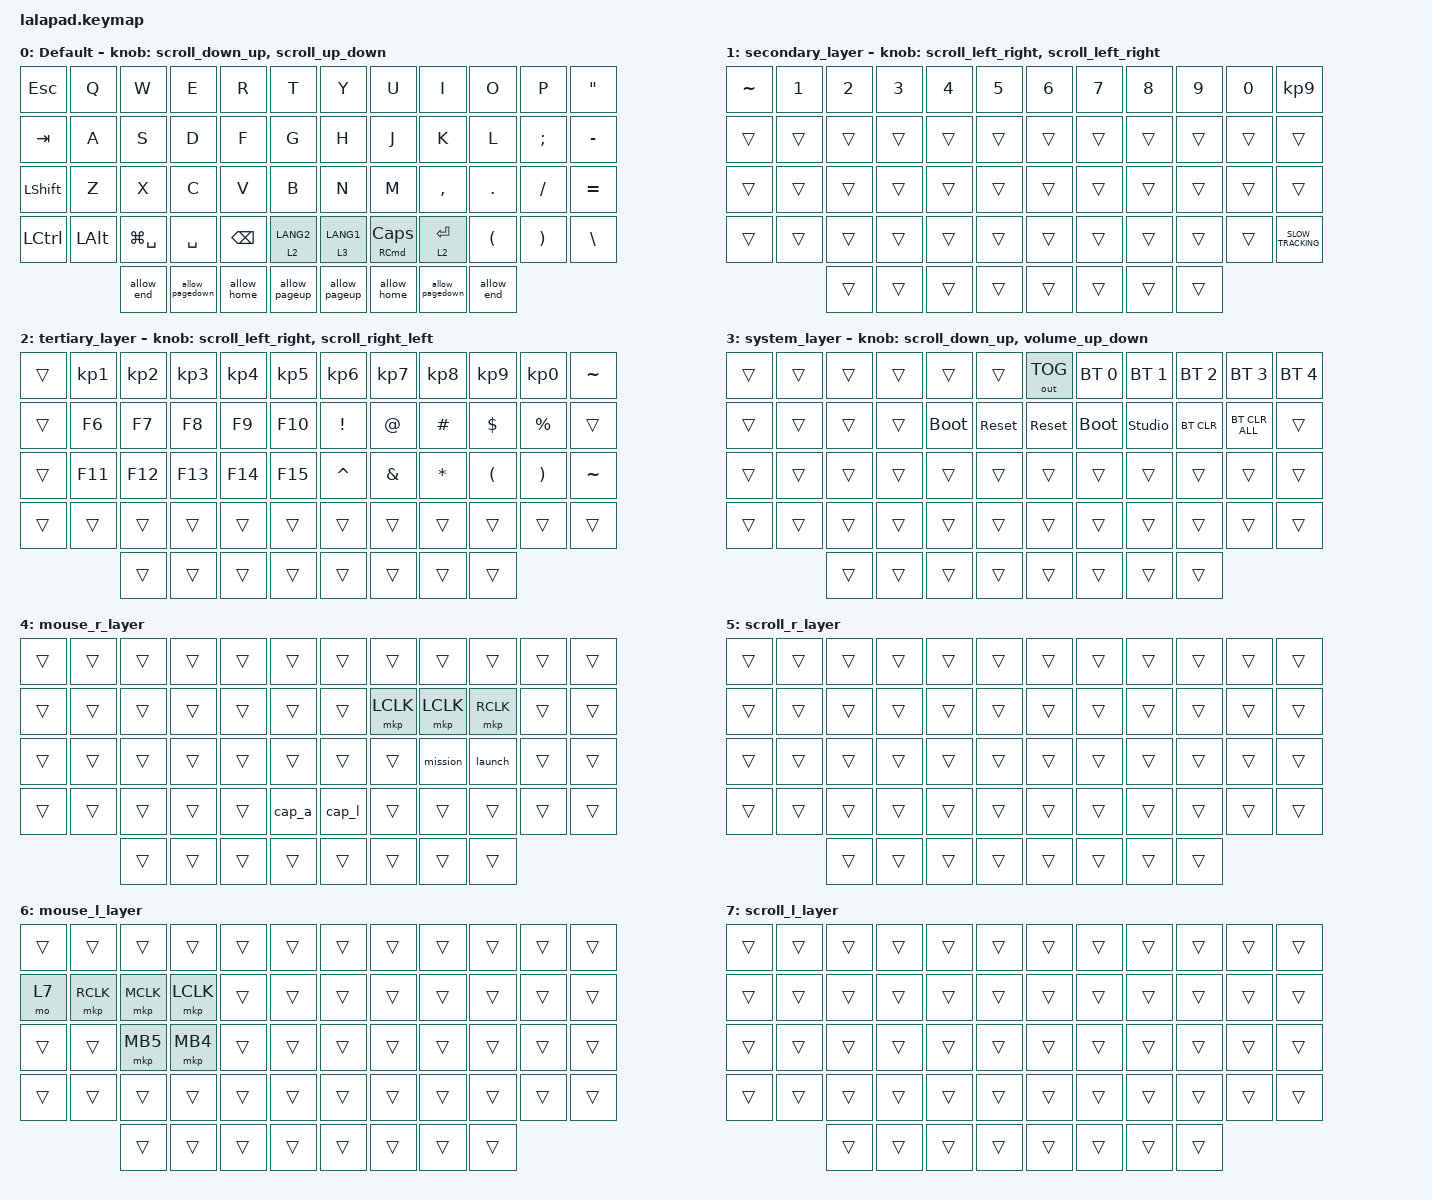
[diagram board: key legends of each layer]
#include <input/processors.dtsi>
#include <behaviors.dtsi>
#include <dt-bindings/zmk/bt.h>
#include <dt-bindings/zmk/keys.h>
#include <dt-bindings/zmk/outputs.h>
#include <dt-bindings/zmk/pointing.h>

#define DEFAULT_LAYER   0
#define SECONDARY_LAYER 1
#define TERTIARY_LAYER  2
#define SYSTEM_LAYER    3
#define MOUSE_R_LAYER   4
#define SCROLL_R_LAYER  5
#define MOUSE_L_LAYER   6
#define SCROLL_L_LAYER  7

/* Avoid macro redefinition warnings/errors */

#ifdef ZMK_POINTING_DEFAULT_SCRL_VAL
#undef ZMK_POINTING_DEFAULT_SCRL_VAL
#endif

#define ZMK_POINTING_DEFAULT_SCRL_VAL 100

/* cirque trackpad input & layer control */

&glidepoint_listener_R {
    input-processors =
        <&zip_xy_transform (INPUT_TRANSFORM_XY_SWAP | INPUT_TRANSFORM_X_INVERT | INPUT_TRANSFORM_Y_INVERT)>,
        <&zip_xy_scaler 3 2>,
        <&zip_temp_layer MOUSE_R_LAYER 500>;

    lowspeedmode {
        layers = <SECONDARY_LAYER>;
        input-processors =
            <&zip_xy_transform (INPUT_TRANSFORM_XY_SWAP | INPUT_TRANSFORM_X_INVERT | INPUT_TRANSFORM_Y_INVERT)>,
            <&zip_xy_scaler 3 5>,
            <&zip_temp_layer MOUSE_R_LAYER 500>;
    };

    scroller {
        layers = <SCROLL_R_LAYER>;
        input-processors =
            <&zip_xy_to_scroll_mapper>,
            <&zip_scroll_transform (INPUT_TRANSFORM_XY_SWAP | INPUT_TRANSFORM_Y_INVERT)>,
            <&zip_scroll_scaler 1 8>;
    };
};

&glidepoint_listener_L {
    input-processors =
        <&zip_xy_transform (INPUT_TRANSFORM_XY_SWAP | INPUT_TRANSFORM_X_INVERT | INPUT_TRANSFORM_Y_INVERT)>,
        <&zip_xy_scaler 3 2>,
        <&zip_temp_layer MOUSE_L_LAYER 500>;

    lowspeedmode {
        layers = <SECONDARY_LAYER>;
        input-processors =
            <&zip_xy_transform (INPUT_TRANSFORM_XY_SWAP | INPUT_TRANSFORM_X_INVERT | INPUT_TRANSFORM_Y_INVERT)>,
            <&zip_xy_scaler 3 4>,
            <&zip_temp_layer MOUSE_L_LAYER 500>;
    };

    scroller {
        layers = <SCROLL_L_LAYER>;
        input-processors =
            <&zip_xy_to_scroll_mapper>,
            <&zip_scroll_transform (INPUT_TRANSFORM_XY_SWAP | INPUT_TRANSFORM_Y_INVERT)>,
            <&zip_scroll_scaler 1 6>;
    };
};

/ {
    behaviors {
        /* NOTE: behavior-sensor-rotate does NOT accept display-name. */

        scroll_up_down: sensor_scroll_up_down {
            compatible = "zmk,behavior-sensor-rotate";
            #sensor-binding-cells = <0>;
            bindings = <&msc SCRL_UP>, <&msc SCRL_DOWN>;

            tap-ms = <20>;
        };

        scroll_down_up: sensor_scroll_down_up {
            compatible = "zmk,behavior-sensor-rotate";
            #sensor-binding-cells = <0>;
            bindings = <&msc SCRL_DOWN>, <&msc SCRL_UP>;

            tap-ms = <20>;
        };

        scroll_left_right: sensor_scroll_left_right {
            compatible = "zmk,behavior-sensor-rotate";
            #sensor-binding-cells = <0>;
            bindings = <&msc SCRL_LEFT>, <&msc SCRL_RIGHT>;

            tap-ms = <20>;
        };

        scroll_right_left: sensor_scroll_right_left {
            compatible = "zmk,behavior-sensor-rotate";
            #sensor-binding-cells = <0>;
            bindings = <&msc SCRL_RIGHT>, <&msc SCRL_LEFT>;

            tap-ms = <20>;
        };

        volume_up_down: sensor_volume_up_down {
            compatible = "zmk,behavior-sensor-rotate";
            #sensor-binding-cells = <0>;
            bindings = <&kp C_VOLUME_UP>, <&kp C_VOLUME_DOWN>;

            tap-ms = <20>;
        };

        dot_comma: dot_comma {
            compatible = "zmk,behavior-mod-morph";
            #binding-cells = <0>;
            bindings = <&kp KP_DOT>, <&kp COMMA>;

            mods = <(MOD_LSFT|MOD_RSFT)>;
        };

        pls_minus: pls_minus {
            compatible = "zmk,behavior-mod-morph";
            #binding-cells = <0>;
            bindings = <&kp PLUS>, <&kp MINUS>;

            mods = <(MOD_LSFT|MOD_RSFT)>;
        };

        allow_pageup: allow_pageup {
            compatible = "zmk,behavior-mod-morph";
            #binding-cells = <0>;
            bindings = <&kp UP>, <&kp PAGE_UP>;

            mods = <(MOD_LCTL|MOD_RCTL)>;
        };

        allow_pagedown: allow_pagedown {
            compatible = "zmk,behavior-mod-morph";
            #binding-cells = <0>;
            bindings = <&kp DOWN>, <&kp PAGE_DOWN>;

            mods = <(MOD_LCTL|MOD_RCTL)>;
        };

        allow_home: allow_home {
            compatible = "zmk,behavior-mod-morph";
            #binding-cells = <0>;
            bindings = <&kp LEFT>, <&kp HOME>;

            mods = <(MOD_LCTL|MOD_RCTL)>;
        };

        allow_end: allow_end {
            compatible = "zmk,behavior-mod-morph";
            #binding-cells = <0>;
            bindings = <&kp RIGHT>, <&kp END>;

            mods = <(MOD_LCTL|MOD_RCTL)>;
        };

        mt2: mod_tap2 {
            compatible = "zmk,behavior-hold-tap";
            #binding-cells = <2>;
            flavor = "tap-preferred";
            tapping-term-ms = <200>;
            quick-tap-ms = <200>;
            require-prior-idle-ms = <125>;
            bindings = <&kp>, <&kp>;
        };
    };

    combos {
        compatible = "zmk,combos";

        l_p {
            bindings = <&kp LEFT_PARENTHESIS>;
            key-positions = <15 16>;
        };

        r_p {
            bindings = <&kp RIGHT_PARENTHESIS>;
            key-positions = <16 17>;
        };

        l_disp {
            bindings = <&kp LA(LC(D))>;
            key-positions = <24 25>;
        };

        c_disp {
            bindings = <&kp LA(LC(F))>;
            key-positions = <25 26>;
        };

        r_disp {
            bindings = <&kp LA(LC(G))>;
            key-positions = <26 27>;
        };

        full_disp {
            bindings = <&kp LA(LC(ENTER))>;
            key-positions = <28 29>;
        };
    };

    macros {
        launch: launch {
            compatible = "zmk,behavior-macro";
            #binding-cells = <0>;
            bindings = <&kp RG(L)>;
            label = "LAUNCH";
        };

        mission: mission {
            compatible = "zmk,behavior-macro";
            #binding-cells = <0>;
            bindings = <&kp RC(UP_ARROW)>;
            label = "MISSION";
        };

        cap_a: cap_a {
            compatible = "zmk,behavior-macro";
            #binding-cells = <0>;
            bindings = <&kp LS(LG(NUMBER_3))>;
            label = "CAP_A";
        };

        cap_l: cap_l {
            compatible = "zmk,behavior-macro";
            #binding-cells = <0>;
            bindings = <&kp LG(LS(NUMBER_4))>;
            label = "CAP_L";
        };
    };

    keymap {
        compatible = "zmk,keymap";

        DEFAULT_LAYER {
            display-name = "Default";
            sensor-bindings = <&scroll_down_up>, <&scroll_up_down>;

            bindings = <
&kp ESC    &kp Q         &kp W          &kp E            &kp R          &kp T          &kp Y          &kp U              &kp I            &kp O                 &kp P                  &kp DOUBLE_QUOTES
&kp TAB    &kp A         &kp S          &kp D            &kp F          &kp G          &kp H          &kp J              &kp K            &kp L                 &kp SEMI               &kp MINUS
&kp LSHFT  &kp Z         &kp X          &kp C            &kp V          &kp B          &kp N          &kp M              &kp COMMA        &kp PERIOD            &kp SLASH              &kp EQUAL
&kp LCTRL  &kp LEFT_ALT  &kp LG(SPACE)  &kp SPACE        &kp BACKSPACE  &lt 2 LANG2    &lt 3 LANG1    &mt RCMD CAPSLOCK  &lt 2 ENTER      &kp LEFT_PARENTHESIS  &kp RIGHT_PARENTHESIS  &kp BACKSLASH
                         &allow_end     &allow_pagedown  &allow_home    &allow_pageup  &allow_pageup  &allow_home        &allow_pagedown  &allow_end
            >;
        };

        SECONDARY_LAYER {
            display-name = "secondary_layer";
            sensor-bindings = <&scroll_left_right>, <&scroll_left_right>;

            bindings = <
&kp TILDE  &kp NUMBER_1  &kp NUMBER_2  &kp NUMBER_3  &kp NUMBER_4  &kp NUMBER_5  &kp NUMBER_6  &kp N7  &kp N8  &kp N9  &kp N0  &kp KP_NUMBER_9
&trans     &trans        &trans        &trans        &trans        &trans        &trans        &trans  &trans  &trans  &trans  &trans
&trans     &trans        &trans        &trans        &trans        &trans        &trans        &trans  &trans  &trans  &trans  &trans
&trans     &trans        &trans        &trans        &trans        &trans        &trans        &trans  &trans  &trans  &trans  &kp C_SLOW_TRACKING
                         &trans        &trans        &trans        &trans        &trans        &trans  &trans  &trans
            >;
        };

        TERTIARY_LAYER {
            display-name = "tertiary_layer";
            sensor-bindings = <&scroll_left_right>, <&scroll_right_left>;

            bindings = <
&trans  &kp KP_N1  &kp KP_N2  &kp KP_N3  &kp KP_NUMBER_4  &kp KP_NUMBER_5  &kp KP_NUMBER_6  &kp KP_NUMBER_7  &kp KP_N8     &kp KP_NUMBER_9       &kp KP_NUMBER_0        &kp TILDE
&trans  &kp F6     &kp F7     &kp F8     &kp F9           &kp F10          &kp EXCLAMATION  &kp AT_SIGN      &kp HASH      &kp DOLLAR            &kp PERCENT            &trans
&trans  &kp F11    &kp F12    &kp F13    &kp F14          &kp F15          &kp CARET        &kp AMPERSAND    &kp ASTERISK  &kp LEFT_PARENTHESIS  &kp RIGHT_PARENTHESIS  &kp TILDE
&trans  &trans     &trans     &trans     &trans           &trans           &trans           &trans           &trans        &trans                &trans                 &trans
                   &trans     &trans     &trans           &trans           &trans           &trans           &trans        &trans
            >;
        };

        SYSTEM_LAYER {
            display-name = "system_layer";
            sensor-bindings = <&scroll_down_up>, <&volume_up_down>;

            bindings = <
&trans  &trans  &trans  &trans  &trans       &trans      &out OUT_TOG  &bt BT_SEL 0  &bt BT_SEL 1    &bt BT_SEL 2  &bt BT_SEL 3    &bt BT_SEL 4
&trans  &trans  &trans  &trans  &bootloader  &sys_reset  &sys_reset    &bootloader   &studio_unlock  &bt BT_CLR    &bt BT_CLR_ALL  &trans
&trans  &trans  &trans  &trans  &trans       &trans      &trans        &trans        &trans          &trans        &trans          &trans
&trans  &trans  &trans  &trans  &trans       &trans      &trans        &trans        &trans          &trans        &trans          &trans
                &trans  &trans  &trans       &trans      &trans        &trans        &trans          &trans
            >;
        };

        MOUSE_R_LAYER {
            display-name = "mouse_r_layer";
            bindings = <
&trans  &trans  &trans  &trans  &trans  &trans  &trans  &trans     &trans     &trans     &trans  &trans
&trans  &trans  &trans  &trans  &trans  &trans  &trans  &mkp LCLK  &mkp LCLK  &mkp RCLK  &trans  &trans
&trans  &trans  &trans  &trans  &trans  &trans  &trans  &trans     &mission   &launch    &trans  &trans
&trans  &trans  &trans  &trans  &trans  &cap_a  &cap_l  &trans     &trans     &trans     &trans  &trans
                &trans  &trans  &trans  &trans  &trans  &trans     &trans     &trans
            >;
        };

        SCROLL_R_LAYER {
            display-name = "scroll_r_layer";
            bindings = <
&trans  &trans  &trans  &trans  &trans  &trans  &trans  &trans  &trans  &trans  &trans  &trans
&trans  &trans  &trans  &trans  &trans  &trans  &trans  &trans  &trans  &trans  &trans  &trans
&trans  &trans  &trans  &trans  &trans  &trans  &trans  &trans  &trans  &trans  &trans  &trans
&trans  &trans  &trans  &trans  &trans  &trans  &trans  &trans  &trans  &trans  &trans  &trans
                &trans  &trans  &trans  &trans  &trans  &trans  &trans  &trans
            >;
        };

        MOUSE_L_LAYER {
            display-name = "mouse_l_layer";
            bindings = <
&trans  &trans     &trans     &trans     &trans  &trans  &trans  &trans  &trans  &trans  &trans  &trans
&mo 7   &mkp RCLK  &mkp MCLK  &mkp LCLK  &trans  &trans  &trans  &trans  &trans  &trans  &trans  &trans
&trans  &trans     &mkp MB5   &mkp MB4   &trans  &trans  &trans  &trans  &trans  &trans  &trans  &trans
&trans  &trans     &trans     &trans     &trans  &trans  &trans  &trans  &trans  &trans  &trans  &trans
                   &trans     &trans     &trans  &trans  &trans  &trans  &trans  &trans
            >;
        };

        SCROLL_L_LAYER {
            display-name = "scroll_l_layer";
            bindings = <
&trans  &trans  &trans  &trans  &trans  &trans  &trans  &trans  &trans  &trans  &trans  &trans
&trans  &trans  &trans  &trans  &trans  &trans  &trans  &trans  &trans  &trans  &trans  &trans
&trans  &trans  &trans  &trans  &trans  &trans  &trans  &trans  &trans  &trans  &trans  &trans
&trans  &trans  &trans  &trans  &trans  &trans  &trans  &trans  &trans  &trans  &trans  &trans
                &trans  &trans  &trans  &trans  &trans  &trans  &trans  &trans
            >;
        };
    };
};
